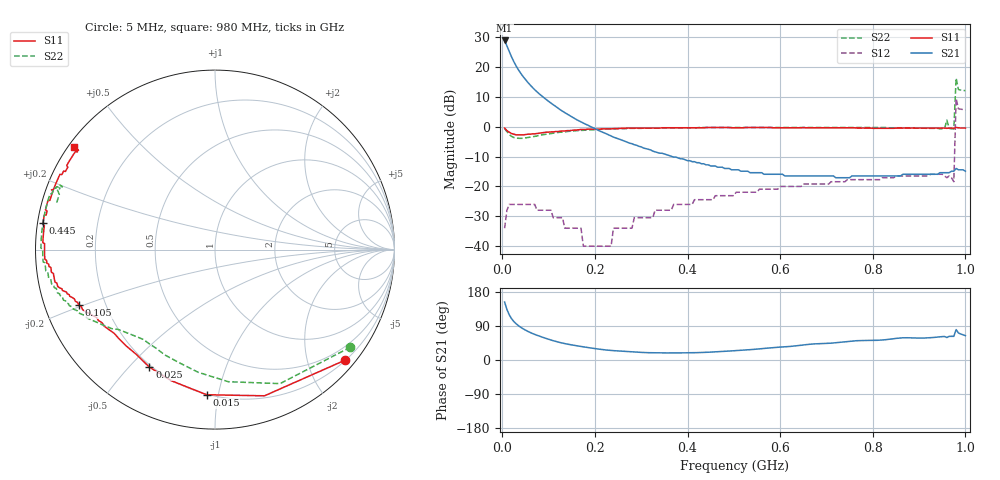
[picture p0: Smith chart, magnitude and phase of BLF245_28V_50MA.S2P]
! Filename:  BLF245_28V_50mA.s2p
! Philips part #: BLF245  !date: 22-05-2003
!Vdd=28V ; Idq=50 mA
!D:\Vee measurements\measurement data\VDMOST\BLF245\28V_50mA_#1
# HZ S MA R 50
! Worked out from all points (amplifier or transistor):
!   200 points, 5 MHz to 1 GHz, reference 50 ohm
!   highest |S21| = 28.9 dB at 5 MHz (marker M1)
!   |S21| within 3 dB of that: start of sweep to 13.15 MHz
!   unconditionally stable (mu >= 1): 174.3 MHz to 188.7 MHz; 190.8 MHz to 236.4 MHz; 654.9 MHz to 955.6 MHz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
!   at 170 MHz: K = 0.20, MSG = 17.8 dB, |S12| = -34.0 dB
!   at 505 MHz: K = 0.73, MSG = 3.8 dB, |S12| = -21.9 dB
!   at 1 GHz: K = -2.30, MSG = -10.3 dB, |S12| = 5.7 dB
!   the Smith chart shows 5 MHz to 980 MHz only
!   S11 on the Smith chart (normalised r, x): 5 MHz: 0.21, -2.70; 15 MHz: 0.20, -0.92; 25 MHz: 0.19, -0.57; 105 MHz: 0.10, -0.19; 445 MHz: 0.02, +0.08; 980 MHz: 0.02, +0.33
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5000000  0.95 -40.5  27.84 152.9  0.02 63.8  0.93 -35.8
1e7  0.86 -71.3  22.6 133.3  0.04 44.4  0.83 -64.1
1.5e7  0.81 -93.3  18.19 119.2  0.05 30.8  0.74 -84.2
2e7  0.77 -108.6  14.77 109.1  0.05 21.7  0.69 -97.8
2.5e7  0.75 -119.2  12.24 101.4  0.05 14.6  0.66 -108.1
3.5e7  0.73 -132.4  8.93 90.5  0.05 4.7  0.64 -121.0
5.5e7  0.75 -145.2  5.54 75.6  0.05 -7.4  0.66 -133.6
7.5e7  0.77 -151.2  3.84 65.2  0.04 -14.8  0.7 -140.6
1.05e8  0.82 -157.8  2.49 52.8  0.04 -21.8  0.77 -148.1
1.75e8  0.9 -167.4  1.15 34.7  0.01 -5.0  0.87 -159.7
3.4e8  0.95 178.0  0.36 18.9  0.04 87.2  0.95 -175.3
4.45e8  0.97 171.3  0.23 20.5  0.06 87.5  0.97 178.4
5.05e8  0.96 167.9  0.19 24.6  0.08 85.9  0.97 175.2
6.7e8  0.96 158.9  0.15 42.2  0.11 82.5  0.97 167.8
8.35e8  0.94 151.1  0.15 54.5  0.14 80.8  0.96 161.1
9.5e8  0.95 145.2  0.17 61.7  0.16 74.9  0.93 157.3
9.6e8  0.94 144.6  0.17 59.3  0.14 -144.0  1.29 -172.3
9.65e8  0.95 144.4  0.17 62.4  0.15 75.6  0.94 159.2
9.75e8  0.94 144.0  0.18 62.5  0.12 69.9  0.92 163.5
9.8e8  0.97 143.9  0.2 80.2  2.96 61.5  6.5 64.5
9.85e8  0.96 143.5  0.19 71.3  2 55.8  4.19 62.3
1e9  0.95 142.9  0.18 64.3  1.92 53.7  4.01 59.9
